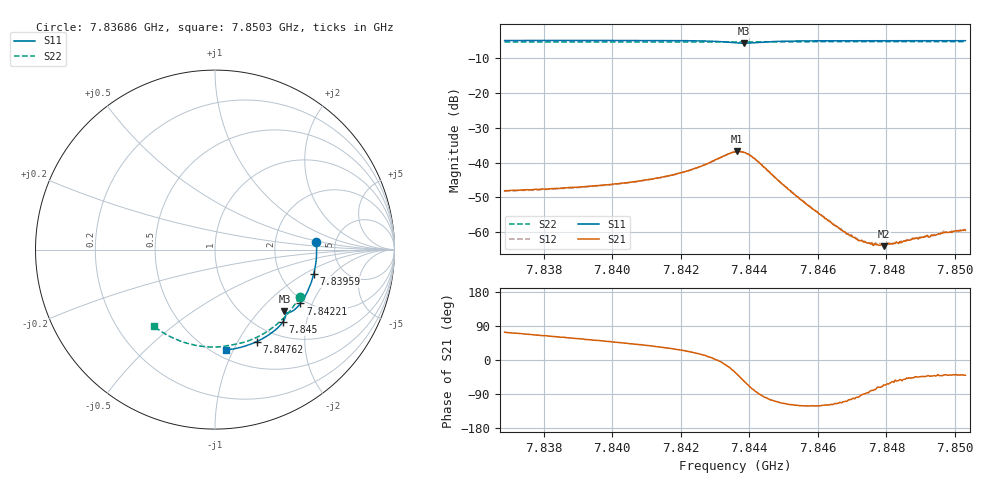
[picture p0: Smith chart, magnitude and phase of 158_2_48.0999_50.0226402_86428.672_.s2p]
#  HZ  S  RI  R  50.00
! Rohde & Schwarz Vector Network Analyzer
! Rohde-Schwarz,ZNB20-2Port,1311601062101988,3.16
! Created: UTC 12/23/2023, 3:50:28 AM
! freq[Hz]  re:S11  im:S11  re:S21  im:S21  re:S12  im:S12  re:S22  im:S22
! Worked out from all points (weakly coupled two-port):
!   401 points, 7.83686 GHz to 7.8503 GHz, reference 50 ohm
!   highest |S21| = -36.79 dB at 7.84365 GHz (marker M1); lowest = -64.0 dB at 7.84792 GHz (marker M2)
!   lowest |S11| = -5.7 dB at 7.84385 GHz (marker M3), VSWR 3.14, Z = 74.2 - j69.6 ohm
!   |S11| at or under -10 dB: nowhere
!   |S22| runs from -5.4 to -5.3 dB; largest |S21 - S12| = 0.00033
!   S11 on the Smith chart (normalised r, x): 7.83686 GHz: 3.54, +0.47; 7.83959 GHz: 3.08, -1.23; 7.84221 GHz: 1.87, -1.64; 7.845 GHz: 1.26, -1.47; 7.84762 GHz: 0.80, -1.21; 7.8503 GHz: 0.57, -0.94
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7.836865e9  0.5643 0.0447  0.00113 0.00377  0.00116 0.00373  0.4714 -0.262
7.839116e9  0.5571 -0.1047  0.00254 0.0037  0.00251 0.00366  0.3767 -0.3873
7.839586e9  0.5504 -0.1356  0.00289 0.00365  0.00284 0.0036  0.3525 -0.4097
7.841367e9  0.5076 -0.2492  0.00499 0.00342  0.00494 0.00345  0.2495 -0.48
7.842207e9  0.4756 -0.3001  0.00699 0.00294  0.00696 0.00297  0.1958 -0.5045
7.84308e9  0.4263 -0.3455  0.0113 -0.000132  0.0114 -0.000211  0.137 -0.5228
7.843584e9  0.3915 -0.3495  0.012 -0.00766  0.0121 -0.00757  0.1035 -0.529
7.843652e9  0.3889 -0.3479  0.0114 -0.00889  0.0115 -0.00873  0.0992 -0.53
7.843853e9  0.3871 -0.3432  0.0078 -0.0116  0.00784 -0.0115  0.0864 -0.5321
7.844156e9  0.3939 -0.3495  0.00175 -0.0113  0.00189 -0.0113  0.0669 -0.5361
7.844996e9  0.3779 -0.4036  -0.00196 -0.00435  -0.00197 -0.00438  0.00842 -0.5426
7.845835e9  0.3365 -0.4474  -0.0011 -0.00186  -0.00112 -0.0019  -0.0511 -0.5412
7.846877e9  0.278 -0.4889  -0.000265 -0.000901  -0.00028 -0.000895  -0.1234 -0.5301
7.847179e9  0.2602 -0.4991  -0.000108 -0.000748  -8.7e-05 -0.000769  -0.1437 -0.5252
7.847616e9  0.2336 -0.512  0.000108 -0.000632  0.000126 -0.000687  -0.1732 -0.5164
7.847919e9  0.2151 -0.5202  0.000259 -0.000573  0.000279 -0.000582  -0.1933 -0.5094
7.848087e9  0.2047 -0.5243  0.000313 -0.000588  0.000315 -0.00062  -0.2043 -0.5051
7.848288e9  0.192 -0.5293  0.000406 -0.000596  0.0004 -0.000577  -0.2172 -0.4999
7.848523e9  0.1772 -0.5344  0.000475 -0.000584  0.000496 -0.000561  -0.2325 -0.4932
7.849262e9  0.1296 -0.5476  0.000621 -0.000579  0.000654 -0.000573  -0.2783 -0.4691
7.849699e9  0.1012 -0.5536  0.000764 -0.000625  0.00076 -0.000638  -0.3044 -0.4531
7.850304e9  0.0613 -0.559  0.000811 -0.000686  0.00085 -0.000714  -0.3389 -0.4283
